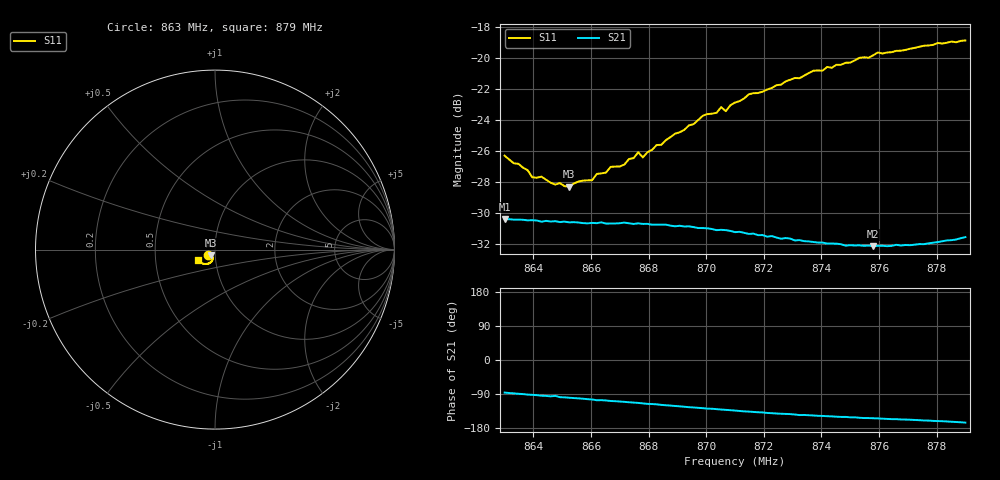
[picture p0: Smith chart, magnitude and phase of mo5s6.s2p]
# HZ S RI R 50
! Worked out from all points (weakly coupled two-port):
!   101 points, 863 MHz to 879 MHz, reference 50 ohm
!   highest |S21| = -30.42 dB at 863 MHz (marker M1); lowest = -32.2 dB at 875.8 MHz (marker M2)
!   lowest |S11| = -28.3 dB at 865.24 MHz (marker M3), VSWR 1.08, Z = 47.8 - j3.05 ohm
!   |S11| at or under -10 dB: start of sweep to end of sweep
!   S12 and S22 are empty: the file has one direction only
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8.63e8  -0.039 -0.0285  0.00209 -0.0301  0 0  0 0
8.638e8  -0.033 -0.0281  -0.0007 -0.0298  0 0  0 0
8.6396e8  -0.0293 -0.0288  -0.00103 -0.0299  0 0  0 0
8.6428e8  -0.0277 -0.0307  -0.00221 -0.0295  0 0  0 0
8.6524e8  -0.0214 -0.0318  -0.00485 -0.029  0 0  0 0
8.6572e8  -0.019 -0.0353  -0.0062 -0.0286  0 0  0 0
8.6604e8  -0.0176 -0.0362  -0.0072 -0.0284  0 0  0 0
8.662e8  -0.018 -0.0381  -0.00816 -0.0281  0 0  0 0
8.6668e8  -0.0157 -0.0416  -0.00909 -0.0277  0 0  0 0
8.6716e8  -0.0142 -0.0429  -0.0102 -0.0275  0 0  0 0
8.6764e8  -0.016 -0.0468  -0.0115 -0.0268  0 0  0 0
8.678e8  -0.0134 -0.0457  -0.0121 -0.0264  0 0  0 0
8.6844e8  -0.0126 -0.0508  -0.0138 -0.0254  0 0  0 0
8.6988e8  -0.0163 -0.0629  -0.017 -0.0225  0 0  0 0
8.7036e8  -0.0175 -0.0641  -0.0177 -0.0214  0 0  0 0
8.7052e8  -0.0194 -0.0665  -0.0181 -0.0211  0 0  0 0
8.7068e8  -0.0188 -0.0645  -0.0184 -0.0208  0 0  0 0
8.71e8  -0.0209 -0.0686  -0.0188 -0.0198  0 0  0 0
8.7372e8  -0.0421 -0.0805  -0.0212 -0.0141  0 0  0 0
8.758e8  -0.0651 -0.0784  -0.0221 -0.0109  0 0  0 0
8.7644e8  -0.0715 -0.0759  -0.0225 -0.01  0 0  0 0
8.79e8  -0.0974 -0.0588  -0.0255 -0.00674  0 0  0 0
